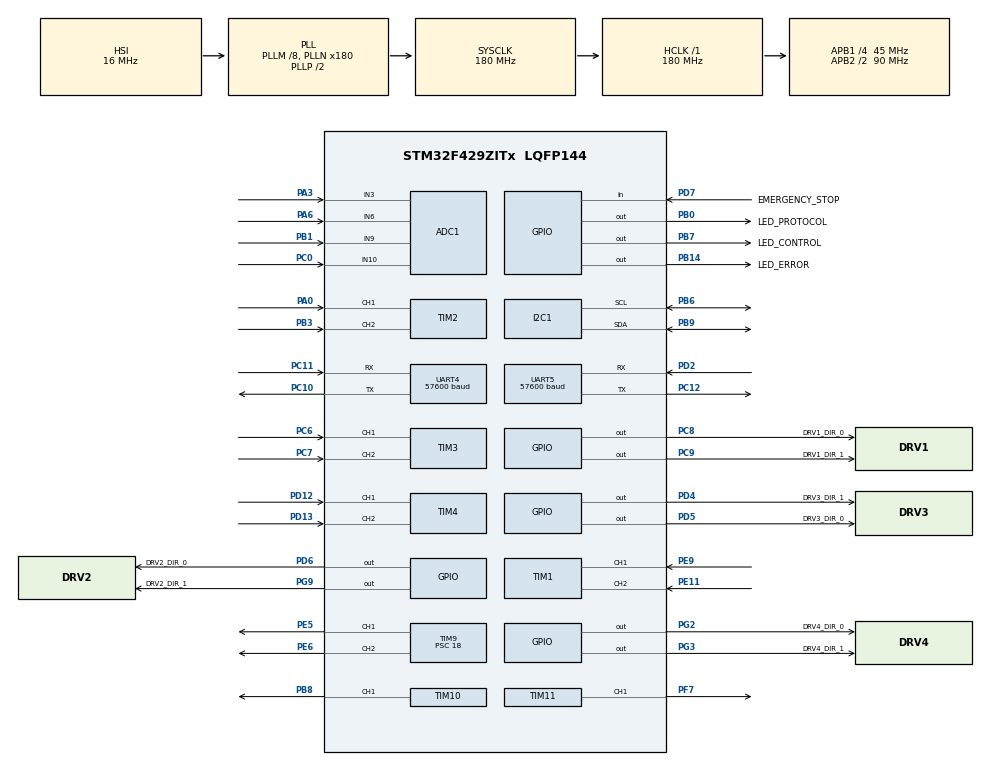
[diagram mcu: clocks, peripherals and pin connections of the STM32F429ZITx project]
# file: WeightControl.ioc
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ADC1.Channel-0\#ChannelRegularConversion=ADC_CHANNEL_3
ADC1.Channel-1\#ChannelRegularConversion=ADC_CHANNEL_6
ADC1.Channel-2\#ChannelRegularConversion=ADC_CHANNEL_9
ADC1.Channel-3\#ChannelRegularConversion=ADC_CHANNEL_10
ADC1.DMAContinuousRequests=ENABLE
ADC1.EOCSelection=ADC_EOC_SEQ_CONV
ADC1.ExternalTrigConv=ADC_EXTERNALTRIGCONV_T8_TRGO
ADC1.NbrOfConversion=4
ADC1.NbrOfConversionFlag=1
ADC1.Rank-0\#ChannelRegularConversion=1
ADC1.Rank-1\#ChannelRegularConversion=2
ADC1.Rank-2\#ChannelRegularConversion=3
ADC1.Rank-3\#ChannelRegularConversion=4
ADC1.SamplingTime-0\#ChannelRegularConversion=ADC_SAMPLETIME_15CYCLES
ADC1.SamplingTime-1\#ChannelRegularConversion=ADC_SAMPLETIME_15CYCLES
ADC1.SamplingTime-2\#ChannelRegularConversion=ADC_SAMPLETIME_15CYCLES
ADC1.SamplingTime-3\#ChannelRegularConversion=ADC_SAMPLETIME_15CYCLES
ADC1.master=1
Dma.ADC1.0.Direction=DMA_PERIPH_TO_MEMORY
Dma.ADC1.0.FIFOMode=DMA_FIFOMODE_DISABLE
Dma.ADC1.0.Instance=DMA2_Stream0
Dma.ADC1.0.MemDataAlignment=DMA_MDATAALIGN_HALFWORD
Dma.ADC1.0.MemInc=DMA_MINC_ENABLE
Dma.ADC1.0.Mode=DMA_CIRCULAR
Dma.ADC1.0.PeriphDataAlignment=DMA_PDATAALIGN_HALFWORD
Dma.ADC1.0.PeriphInc=DMA_PINC_DISABLE
Dma.ADC1.0.Priority=DMA_PRIORITY_LOW
Dma.Request0=ADC1
FREERTOS.Tasks01=defaultTask,24,128,StartDefaultTask,Default,NULL,Dynamic,NULL,NULL
FREERTOS.configENABLE_FPU=1
FREERTOS.configTOTAL_HEAP_SIZE=30720
IWDG.Prescaler=IWDG_PRESCALER_16
IWDG.Reload=2000
Mcu.Family=STM32F4
Mcu.Name=STM32F429ZITx
Mcu.Package=LQFP144
NVIC.DMA2_Stream0_IRQn=true\:5\:0\:false\:false\:true\:true\:false\:true\:true
NVIC.PriorityGroup=NVIC_PRIORITYGROUP_4
NVIC.TIM7_IRQn=true\:15\:0\:false\:false\:true\:false\:false\:true\:true
NVIC.TimeBase=TIM7_IRQn
NVIC.TimeBaseIP=TIM7
NVIC.UART4_IRQn=true\:5\:0\:false\:false\:true\:true\:true\:true\:true
NVIC.UART5_IRQn=true\:5\:0\:false\:false\:true\:true\:true\:true\:true
PA0/WKUP.Signal=S_TIM2_CH1_ETR
PA13.Mode=Serial_Wire
PA13.Signal=SYS_JTMS-SWDIO
PA14.Mode=Serial_Wire
PA14.Signal=SYS_JTCK-SWCLK
PA3.Signal=ADCx_IN3
PA6.Signal=ADCx_IN6
PB0.GPIO_Label=LED_PROTOCOL
PB0.Signal=GPIO_Output
PB1.Signal=ADCx_IN9
PB14.GPIO_Label=LED_ERROR
PB14.Signal=GPIO_Output
PB3.Signal=S_TIM2_CH2
PB6.GPIO_Pu=GPIO_PULLUP
PB6.Mode=I2C
PB6.Signal=I2C1_SCL
PB7.GPIO_Label=LED_CONTROL
PB7.Signal=GPIO_Output
PB8.Signal=S_TIM10_CH1
PB9.GPIO_Pu=GPIO_PULLUP
PB9.Mode=I2C
PB9.Signal=I2C1_SDA
PC0.Signal=ADCx_IN10
PC10.Mode=Asynchronous
PC10.Signal=UART4_TX
PC11.Mode=Asynchronous
PC11.Signal=UART4_RX
PC12.Mode=Asynchronous
PC12.Signal=UART5_TX
PC6.Signal=S_TIM3_CH1
PC7.Signal=S_TIM3_CH2
PC8.GPIO_Label=DRV1_DIR_0
PC8.GPIO_PuPd=GPIO_PULLDOWN
PC8.Signal=GPIO_Output
PC9.GPIO_Label=DRV1_DIR_1
PC9.GPIO_PuPd=GPIO_PULLDOWN
PC9.Signal=GPIO_Output
PD12.Signal=S_TIM4_CH1
PD13.Signal=S_TIM4_CH2
PD2.Mode=Asynchronous
PD2.Signal=UART5_RX
PD4.GPIO_Label=DRV3_DIR_1
PD4.GPIO_PuPd=GPIO_PULLDOWN
PD4.Signal=GPIO_Output
PD5.GPIO_Label=DRV3_DIR_0
PD5.GPIO_PuPd=GPIO_PULLDOWN
PD5.Signal=GPIO_Output
PD6.GPIO_Label=DRV2_DIR_0
PD6.GPIO_PuPd=GPIO_PULLDOWN
PD6.Signal=GPIO_Output
PD7.GPIO_Label=EMERGENCY_STOP
PD7.Signal=GPIO_Input
PE11.Signal=S_TIM1_CH2
PE5.Signal=S_TIM9_CH1
PE6.Signal=S_TIM9_CH2
PE9.Signal=S_TIM1_CH1
PF7.Signal=S_TIM11_CH1
PG2.GPIO_Label=DRV4_DIR_0
PG2.GPIO_PuPd=GPIO_PULLDOWN
PG2.Signal=GPIO_Output
PG3.GPIO_Label=DRV4_DIR_1
PG3.GPIO_PuPd=GPIO_PULLDOWN
PG3.Signal=GPIO_Output
PG9.GPIO_Label=DRV2_DIR_1
PG9.GPIO_PuPd=GPIO_PULLDOWN
PG9.Signal=GPIO_Output
ProjectManager.HeapSize=0x200
ProjectManager.StackSize=0x400
ProjectManager.TargetToolchain=Makefile
RCC.48MHZClocksFreq_Value=90000000
RCC.AHBFreq_Value=180000000
RCC.APB1CLKDivider=RCC_HCLK_DIV4
RCC.APB1Freq_Value=45000000
RCC.APB1TimFreq_Value=90000000
RCC.APB2CLKDivider=RCC_HCLK_DIV2
RCC.APB2Freq_Value=90000000
RCC.APB2TimFreq_Value=180000000
RCC.CortexFreq_Value=180000000
RCC.HCLKFreq_Value=180000000
RCC.HSE_VALUE=25000000
RCC.HSI_VALUE=16000000
RCC.LSE_VALUE=32768
RCC.PLLM=8
RCC.PLLN=180
RCC.SYSCLKFreq_VALUE=180000000
RCC.SYSCLKSource=RCC_SYSCLKSOURCE_PLLCLK
RCC.VCOOutputFreq_Value=360000000
SH.ADCx_IN10.0=ADC1_IN10,IN10
SH.ADCx_IN3.0=ADC1_IN3,IN3
SH.ADCx_IN6.0=ADC1_IN6,IN6
SH.ADCx_IN9.0=ADC1_IN9,IN9
SH.S_TIM10_CH1.0=TIM10_CH1,PWM Generation1 CH1
SH.S_TIM11_CH1.0=TIM11_CH1,PWM Generation1 CH1
SH.S_TIM1_CH1.0=TIM1_CH1,Encoder_Interface
SH.S_TIM1_CH2.0=TIM1_CH2,Encoder_Interface
SH.S_TIM2_CH1_ETR.0=TIM2_CH1,Encoder_Interface
SH.S_TIM2_CH2.0=TIM2_CH2,Encoder_Interface
SH.S_TIM3_CH1.0=TIM3_CH1,Encoder_Interface
SH.S_TIM3_CH2.0=TIM3_CH2,Encoder_Interface
SH.S_TIM4_CH1.0=TIM4_CH1,Encoder_Interface
SH.S_TIM4_CH2.0=TIM4_CH2,Encoder_Interface
SH.S_TIM9_CH1.0=TIM9_CH1,PWM Generation1 CH1
SH.S_TIM9_CH2.0=TIM9_CH2,PWM Generation2 CH2
TIM1.EncoderMode=TIM_ENCODERMODE_TI12
TIM10.Channel=TIM_CHANNEL_1
TIM10.Period=2000
TIM10.Prescaler=18
TIM11.Channel=TIM_CHANNEL_1
TIM11.Period=2000
TIM11.Prescaler=18
TIM2.AutoReloadPreload=TIM_AUTORELOAD_PRELOAD_DISABLE
TIM2.EncoderMode=TIM_ENCODERMODE_TI12
TIM3.EncoderMode=TIM_ENCODERMODE_TI12
TIM4.EncoderMode=TIM_ENCODERMODE_TI12
TIM8.Channel-Output\ Compare1\ No\ Output=TIM_CHANNEL_1
TIM8.Period=10000
TIM8.Prescaler=90
TIM8.Pulse-Output\ Compare1\ No\ Output=10000
TIM8.TIM_MasterOutputTrigger=TIM_TRGO_UPDATE
TIM9.Channel-PWM\ Generation1\ CH1=TIM_CHANNEL_1
TIM9.Channel-PWM\ Generation2\ CH2=TIM_CHANNEL_2
TIM9.Period=2000
TIM9.Prescaler=18
UART4.BaudRate=57600
UART4.VirtualMode=Asynchronous
UART5.BaudRate=57600
UART5.VirtualMode=Asynchronous
VP_CRC_VS_CRC.Mode=CRC_Activate
VP_FREERTOS_VS_CMSIS_V2.Mode=CMSIS_V2
VP_IWDG_VS_IWDG.Mode=IWDG_Activate
VP_SYS_VS_tim7.Mode=TIM7
VP_TIM10_VS_ClockSourceINT.Mode=Enable_Timer
VP_TIM11_VS_ClockSourceINT.Mode=Enable_Timer
VP_TIM8_VS_no_output1.Mode=Output Compare1 No Output
board=custom

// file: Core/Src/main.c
/* USER CODE BEGIN Header */
/**
  ******************************************************************************
  * @file           : main.c
  * @brief          : Main program body
  ******************************************************************************
  * @attention
  *
  * Copyright (c) 2022 STMicroelectronics.
  * All rights reserved.
  *
  * This software is licensed under terms that can be found in the LICENSE file
  * in the root directory of this software component.
  * If no LICENSE file comes with this software, it is provided AS-IS.
  *
  ******************************************************************************
  */
/* USER CODE END Header */
#include "main.h"
#include "cmsis_os.h"
#include "adc.h"
#include "crc.h"
#include "dma.h"
#include "i2c.h"
#include "iwdg.h"
#include "tim.h"
#include "usart.h"
#include "gpio.h"

/* USER CODE BEGIN Includes */
#include "protocol.h"
#include "memory.h"
#include "stm32f4xx_hal.h"

#define __MEMORY_INIT_OK() \
    {   \
        LED_CONTROL_UP(); \
        HAL_Delay(100); \
        LED_CONTROL_DOWN(); \
    }

#define __MEMORY_INIT_FAILED() \
    { \
        LED_ERROR_UP(); \
        HAL_Delay(500); \
        HAL_NVIC_SystemReset(); \
    }

#define __MEMORY_REINITIALIZED() \
    { \
        LED_CONTROL_UP(); \
        HAL_Delay(100); \
        LED_CONTROL_DOWN(); \
        HAL_Delay(100); \
        LED_CONTROL_UP(); \
        HAL_Delay(100); \
        LED_CONTROL_DOWN(); \
        HAL_Delay(100); \
        LED_CONTROL_UP(); \
        HAL_Delay(100); \
        LED_CONTROL_DOWN(); \
    }
/* USER CODE END Includes */

void SystemClock_Config(void);
void MX_FREERTOS_Init(void);

int main(void)
{
  /* USER CODE BEGIN 1 */

  __set_PRIMASK(1);
  SCB->VTOR = 0x08020000;
  __set_PRIMASK(0);
  __enable_irq();
  /* USER CODE END 1 */

  /* MCU Configuration--------------------------------------------------------*/

  /* Reset of all peripherals, Initializes the Flash interface and the Systick. */
  HAL_Init();

  /* Configure the system clock */
  SystemClock_Config();

  /* Initialize all configured peripherals */
  MX_GPIO_Init();
  MX_DMA_Init();
  MX_ADC1_Init();
  MX_IWDG_Init();
  MX_TIM1_Init();
  MX_TIM2_Init();
  MX_TIM3_Init();
  MX_CRC_Init();
  MX_I2C1_Init();
  MX_TIM4_Init();
  MX_TIM8_Init();
  MX_UART4_Init();
  MX_UART5_Init();
  MX_TIM9_Init();
  MX_TIM10_Init();
  MX_TIM11_Init();
  /* USER CODE BEGIN 2 */

  uint32_t position[4] = { 0x7FFF, 0x7FFF, 0x7FFF, 0x7FFF };
  HAL_StatusTypeDef state;
  state = MEMORY_CheckMemoryName(10);
  if (state != HAL_OK){
      // EEPROM Partition Name Is Not Good
      state = MEMORY_PreparePartition(10);
      if (state != HAL_OK){
          // EEPROM Partition Name Setting Failed
          __MEMORY_INIT_FAILED();
      }
      else{
          // EEPROM Partition Name Set
          state = MEMORY_SetActualPosition(position[0], position[1], position[2], position[3], 10);
          if (state != HAL_OK){
              // EEPROM Failed To Set Initial Positions
              __MEMORY_INIT_FAILED();
          }
          else{
              // EEPROM Succeeded To Set Initial Positions
              __MEMORY_REINITIALIZED();
          }
      }
  }
  else{
      // EEPROM Partitions Name Is Ok
      state = MEMORY_GetActualPosition(position, 10);
      if (state != HAL_OK){
          // EEPROM Failed To Receive Actual Position
          __MEMORY_INIT_FAILED();
      }
      else{
          // EEPROM Succeeded To Receive Actual Positions
          __MEMORY_INIT_OK();
      }
  }

  HAL_TIM_PWM_Start(&PWM_1_TIMER, PWM_1_CHANNEL);
  PWM_1_DUTY = 0;
  HAL_TIM_PWM_Start(&PWM_2_TIMER, PWM_2_CHANNEL);
  PWM_2_DUTY = 0;
  HAL_TIM_PWM_Start(&PWM_3_TIMER, PWM_3_CHANNEL);
  PWM_3_DUTY = 0;
  HAL_TIM_PWM_Start(&PWM_4_TIMER, PWM_4_CHANNEL);
  PWM_4_DUTY = 0;

  HAL_ADC_Start_DMA(&hadc1, current, 4);
  HAL_TIM_Base_Start(&htim8);

  HAL_TIM_Encoder_Start(&ENCODER_1_TIMER, TIM_CHANNEL_ALL);
  ENCODER_1_COUNT = position[0];
  HAL_TIM_Encoder_Start(&ENCODER_2_TIMER, TIM_CHANNEL_ALL);
  ENCODER_2_COUNT = position[1];
  HAL_TIM_Encoder_Start(&ENCODER_3_TIMER, TIM_CHANNEL_ALL);
  ENCODER_3_COUNT = position[2];
  HAL_TIM_Encoder_Start(&ENCODER_4_TIMER, TIM_CHANNEL_ALL);
  ENCODER_4_COUNT = position[3];

  /* USER CODE END 2 */

  /* Init scheduler */
  osKernelInitialize();  /* Call init function for freertos objects (in freertos.c) */
  MX_FREERTOS_Init();

  /* Start scheduler */
  osKernelStart();

  /* We should never get here as control is now taken by the scheduler */
  /* Infinite loop */
  while (1)
  {

  }
}

void SystemClock_Config(void)
{
  RCC_OscInitTypeDef RCC_OscInitStruct = {0};
  RCC_ClkInitTypeDef RCC_ClkInitStruct = {0};

  /** Configure the main internal regulator output voltage
  */
  __HAL_RCC_PWR_CLK_ENABLE();
  __HAL_PWR_VOLTAGESCALING_CONFIG(PWR_REGULATOR_VOLTAGE_SCALE1);

  /** Initializes the RCC Oscillators according to the specified parameters
  * in the RCC_OscInitTypeDef structure.
  */
  RCC_OscInitStruct.OscillatorType = RCC_OSCILLATORTYPE_HSI|RCC_OSCILLATORTYPE_LSI;
  RCC_OscInitStruct.HSIState = RCC_HSI_ON;
  RCC_OscInitStruct.HSICalibrationValue = RCC_HSICALIBRATION_DEFAULT;
  RCC_OscInitStruct.LSIState = RCC_LSI_ON;
  RCC_OscInitStruct.PLL.PLLState = RCC_PLL_ON;
  RCC_OscInitStruct.PLL.PLLSource = RCC_PLLSOURCE_HSI;
  RCC_OscInitStruct.PLL.PLLM = 8;
  RCC_OscInitStruct.PLL.PLLN = 180;
  RCC_OscInitStruct.PLL.PLLP = RCC_PLLP_DIV2;
  RCC_OscInitStruct.PLL.PLLQ = 4;
  if (HAL_RCC_OscConfig(&RCC_OscInitStruct) != HAL_OK)
  {
    Error_Handler();
  }

  /** Activate the Over-Drive mode
  */
  if (HAL_PWREx_EnableOverDrive() != HAL_OK)
  {
    Error_Handler();
  }

  /** Initializes the CPU, AHB and APB buses clocks
  */
  RCC_ClkInitStruct.ClockType = RCC_CLOCKTYPE_HCLK|RCC_CLOCKTYPE_SYSCLK
                              |RCC_CLOCKTYPE_PCLK1|RCC_CLOCKTYPE_PCLK2;
  RCC_ClkInitStruct.SYSCLKSource = RCC_SYSCLKSOURCE_PLLCLK;
  RCC_ClkInitStruct.AHBCLKDivider = RCC_SYSCLK_DIV1;
  RCC_ClkInitStruct.APB1CLKDivider = RCC_HCLK_DIV4;
  RCC_ClkInitStruct.APB2CLKDivider = RCC_HCLK_DIV2;

  if (HAL_RCC_ClockConfig(&RCC_ClkInitStruct, FLASH_LATENCY_5) != HAL_OK)
  {
    Error_Handler();
  }
}

void HAL_TIM_PeriodElapsedCallback(TIM_HandleTypeDef *htim)
{
  if (htim->Instance == TIM7) {
    HAL_IncTick();
  }
}

void Error_Handler(void)
{
  /* USER CODE BEGIN Error_Handler_Debug */
  /* User can add his own implementation to report the HAL error return state */
  __disable_irq();
  LED_ERROR_UP();
  while (1)
  {
  }
  /* USER CODE END Error_Handler_Debug */
}

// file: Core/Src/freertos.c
/* USER CODE BEGIN Header */
/**
  ******************************************************************************
  * File Name          : freertos.c
  * Description        : Code for freertos applications
  ******************************************************************************
  * @attention
  *
  * Copyright (c) 2022 STMicroelectronics.
  * All rights reserved.
  *
  * This software is licensed under terms that can be found in the LICENSE file
  * in the root directory of this software component.
  * If no LICENSE file comes with this software, it is provided AS-IS.
  *
  ******************************************************************************
  */
/* USER CODE END Header */

#include "FreeRTOS.h"
#include "task.h"
#include "main.h"
#include "cmsis_os.h"

/* USER CODE BEGIN Includes */
#include "protocol.h"
#include "memory.h"
/* USER CODE END Includes */

/* USER CODE BEGIN Variables */
osThreadId_t TaskPID;
const osThreadAttr_t TaskPID_attr = {
  .name = "TASK_PID",
  .stack_size = 4096,
  .priority = (osPriority_t) osPriorityNormal
};
osThreadId_t TaskMemory;
const osThreadAttr_t TaskMemory_attr = {
  .name = "TASK_MEMORY",
  .stack_size = 2048,
  .priority = (osPriority_t) osPriorityNormal
};
osThreadId_t TaskProtocol;
const osThreadAttr_t TaskProtocol_attr = {
  .name = "TASK_PROTOCOL",
  .stack_size = 16384,
  .priority = (osPriority_t) osPriorityNormal
};
/* USER CODE END Variables */
/* Definitions for defaultTask */
osThreadId_t defaultTaskHandle;
const osThreadAttr_t defaultTask_attributes = {
  .name = "defaultTask",
  .stack_size = 128 * 4,
  .priority = (osPriority_t) osPriorityNormal,
};

void StartDefaultTask(void *argument);

void MX_FREERTOS_Init(void); /* (MISRA C 2004 rule 8.1) */

void MX_FREERTOS_Init(void) {

  /* Create the thread(s) */
  /* creation of defaultTask */
  defaultTaskHandle = osThreadNew(StartDefaultTask, NULL, &defaultTask_attributes);

  /* USER CODE BEGIN RTOS_THREADS */
  TaskProtocol  = osThreadNew(PROTOCOL_Task, NULL, &TaskProtocol_attr);
  TaskMemory    = osThreadNew(MEMORY_Task, NULL, &TaskMemory_attr);
  TaskPID       = osThreadNew(PID_Task, NULL, &TaskPID_attr);
  /* add threads, ... */
  /* USER CODE END RTOS_THREADS */

}

void StartDefaultTask(void *argument)
{
  /* USER CODE BEGIN StartDefaultTask */
  /* Infinite loop */
  for(;;)
  {
    osDelay(1000000);
  }
  /* USER CODE END StartDefaultTask */
}
